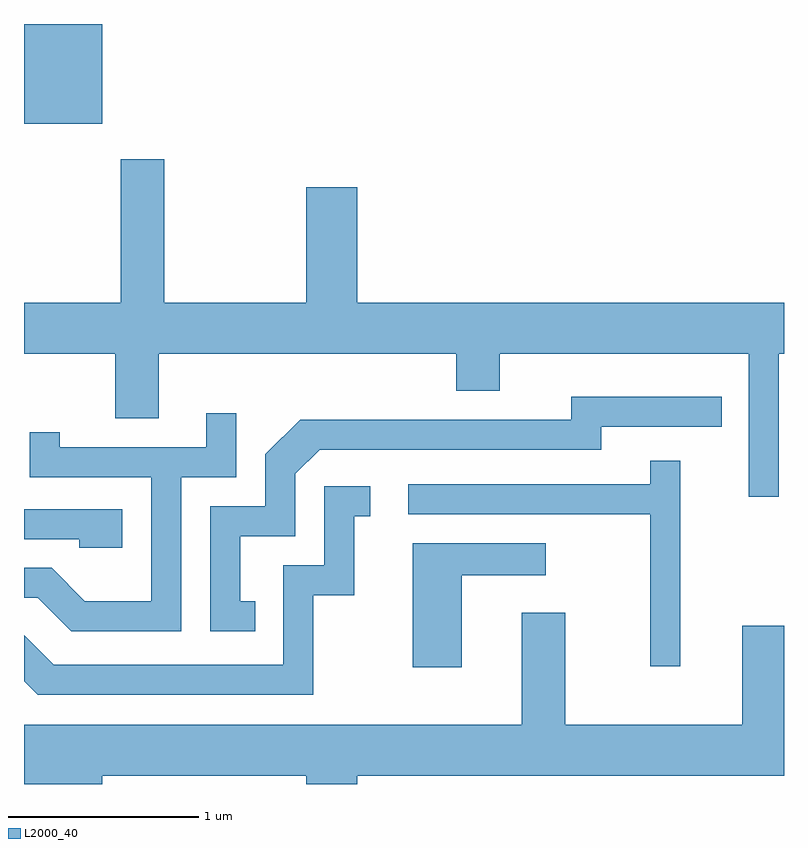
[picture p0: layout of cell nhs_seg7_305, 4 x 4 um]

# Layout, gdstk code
import gdstk
lib = gdstk.Library(unit=1e-6, precision=1e-09)
def R(c, l, rs):  # rectangles x0, y0, x1, y1
    for r in rs: c.add(gdstk.rectangle(r[:2], r[2:], *l))
def P(c, l, *ps):  # polygons
    for p in ps: c.add(gdstk.Polygon(p, *l))
L2000_40 = (2000, 40)

nhs_seg7_305 = lib.new_cell('nhs_seg7_305')
R(nhs_seg7_305, L2000_40, [(193.611,1737.726,194.024,1738.252)])
P(nhs_seg7_305, L2000_40, [(197.584,1736.516),(197.611,1736.516),(197.611,1736.784),(195.364,1736.784),(195.364,1737.394),(195.096,1737.394),(195.096,1736.784),(194.349,1736.784),(194.349,1737.539),(194.121,1737.539),(194.121,1736.784),(193.611,1736.784),(193.611,1736.516),(194.091,1736.516),(194.091,1736.176),(194.319,1736.176),(194.319,1736.516),(195.886,1736.516),(195.886,1736.321),(196.114,1736.321),(196.114,1736.516),(197.426,1736.516),(197.426,1735.763),(197.584,1735.763)],
  [(194.828,1735.214),(194.749,1735.214),(194.749,1735.556),(195.039,1735.556),(195.039,1735.884),(195.167,1736.011),(196.649,1736.011),(196.649,1736.131),(197.283,1736.131),(197.283,1736.289),(196.491,1736.289),(196.491,1736.169),(195.064,1736.169),(194.881,1735.987),(194.881,1735.714),(194.591,1735.714),(194.591,1735.056),(194.828,1735.056)],
  [(194.439,1735.866),(194.729,1735.866),(194.729,1736.203),(194.571,1736.203),(194.571,1736.024),(193.799,1736.024),(193.799,1736.103),(193.641,1736.103),(193.641,1735.866),(194.281,1735.866),(194.281,1735.214),(193.932,1735.214),(193.757,1735.389),(193.611,1735.389),(193.611,1735.231),(193.684,1735.231),(193.859,1735.056),(194.439,1735.056)],
  [(197.064,1735.953),(196.906,1735.953),(196.906,1735.829),(195.633,1735.829),(195.633,1735.671),(196.906,1735.671),(196.906,1734.873),(197.064,1734.873)],
  [(195.134,1735.246),(195.349,1735.246),(195.349,1735.661),(195.433,1735.661),(195.433,1735.819),(195.191,1735.819),(195.191,1735.404),(194.976,1735.404),(194.976,1734.879),(193.767,1734.879),(193.611,1735.035),(193.611,1734.794),(193.684,1734.721),(195.134,1734.721)],
  [(194.129,1735.699),(193.611,1735.699),(193.611,1735.541),(193.901,1735.541),(193.901,1735.496),(194.129,1735.496)],
  [(195.914,1735.351),(196.358,1735.351),(196.358,1735.519),(195.656,1735.519),(195.656,1734.866),(195.914,1734.866)],
  [(194.024,1734.296),(195.096,1734.296),(195.096,1734.252),(195.364,1734.252),(195.364,1734.296),(197.611,1734.296),(197.611,1735.084),(197.391,1735.084),(197.391,1734.564),(196.459,1734.564),(196.459,1735.154),(196.231,1735.154),(196.231,1734.564),(193.611,1734.564),(193.611,1734.252),(194.024,1734.252)])

lib.write_gds('nhs_seg7_305.gds')
